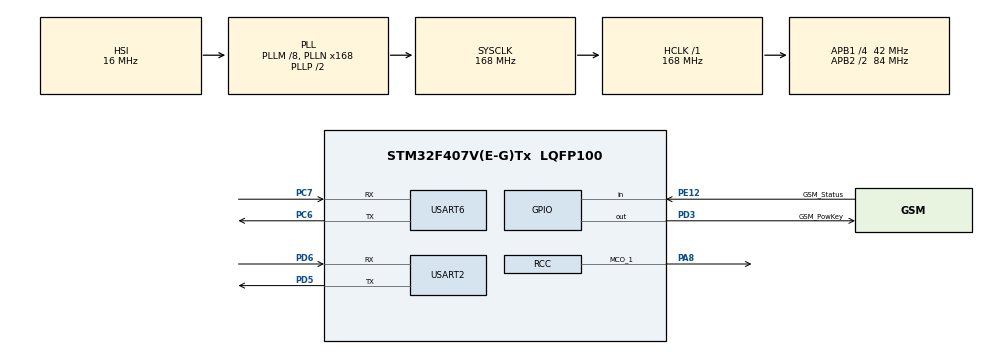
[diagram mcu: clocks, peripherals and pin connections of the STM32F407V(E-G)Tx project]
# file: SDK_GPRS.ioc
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Mcu.Family=STM32F4
Mcu.Name=STM32F407V(E-G)Tx
Mcu.Package=LQFP100
NVIC.PriorityGroup=NVIC_PRIORITYGROUP_4
NVIC.USART2_IRQn=true\:0\:0\:false\:false\:true\:true\:true
NVIC.USART6_IRQn=true\:0\:0\:false\:false\:true\:true\:true
PA13.Mode=JTAG_5_pins
PA13.Signal=SYS_JTMS-SWDIO
PA14.Mode=JTAG_5_pins
PA14.Signal=SYS_JTCK-SWCLK
PA15.Mode=JTAG_5_pins
PA15.Signal=SYS_JTDI
PA8.Mode=Clock-out-1
PA8.Signal=RCC_MCO_1
PB3.Mode=JTAG_5_pins
PB3.Signal=SYS_JTDO-SWO
PB4.Mode=JTAG_5_pins
PB4.Signal=SYS_JTRST
PB8.Signal=I2C1_SCL
PB9.Signal=I2C1_SDA
PC6.Mode=Asynchronous
PC6.Signal=USART6_TX
PC7.Mode=Asynchronous
PC7.Signal=USART6_RX
PD3.GPIO_Label=GSM_PowKey
PD3.Signal=GPIO_Output
PD5.Mode=Asynchronous
PD5.Signal=USART2_TX
PD6.Mode=Asynchronous
PD6.Signal=USART2_RX
PE12.GPIO_Label=GSM_Status
PE12.Signal=GPIO_Input
PH0-OSC_IN.Mode=HSE-External-Oscillator
PH0-OSC_IN.Signal=RCC_OSC_IN
PH1-OSC_OUT.Mode=HSE-External-Oscillator
PH1-OSC_OUT.Signal=RCC_OSC_OUT
ProjectManager.HeapSize=0x200
ProjectManager.StackSize=0x400
ProjectManager.TargetToolchain=SW4STM32
RCC.48MHZClocksFreq_Value=48000000
RCC.AHBFreq_Value=168000000
RCC.APB1CLKDivider=RCC_HCLK_DIV4
RCC.APB1Freq_Value=42000000
RCC.APB1TimFreq_Value=84000000
RCC.APB2CLKDivider=RCC_HCLK_DIV2
RCC.APB2Freq_Value=84000000
RCC.APB2TimFreq_Value=168000000
RCC.CortexFreq_Value=168000000
RCC.HCLKFreq_Value=168000000
RCC.HSE_VALUE=25000000
RCC.HSI_VALUE=16000000
RCC.LSE_VALUE=32768
RCC.PLLM=8
RCC.PLLN=168
RCC.PLLQ=7
RCC.SYSCLKFreq_VALUE=168000000
RCC.SYSCLKSource=RCC_SYSCLKSOURCE_PLLCLK
RCC.VCOOutputFreq_Value=336000000
USART2.VirtualMode=VM_ASYNC
USART6.VirtualMode=VM_ASYNC
board=custom

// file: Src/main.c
/* USER CODE BEGIN Header */
/**
  ******************************************************************************
  * @file           : main.c
  * @brief          : Main program body
  ******************************************************************************
  * @attention
  *
  * <h2><center>&copy; Copyright (c) 2019 STMicroelectronics.
  * All rights reserved.</center></h2>
  *
  * This software component is licensed by ST under BSD 3-Clause license,
  * the "License"; You may not use this file except in compliance with the
  * License. You may obtain a copy of the License at:
  *                        opensource.org/licenses/BSD-3-Clause
  *
  ******************************************************************************
  */
/* USER CODE END Header */

#include "main.h"
#include "usart.h"
#include "gpio.h"

/* USER CODE BEGIN Includes */
#include "string.h"
#include "stdio.h"
/* USER CODE END Includes */

/* USER CODE BEGIN PV */
uint8_t ATstr[32];
uint8_t i;
/* USER CODE END PV */

void SystemClock_Config(void);

int main(void)
{

  /* MCU Configuration--------------------------------------------------------*/

  /* Reset of all peripherals, Initializes the Flash interface and the Systick. */
  HAL_Init();

  /* Configure the system clock */
  SystemClock_Config();

  /* Initialize all configured peripherals */
  MX_GPIO_Init();
  MX_USART6_UART_Init();
  MX_USART2_UART_Init();
  /* USER CODE BEGIN 2 */

  GPIO_PinState currentPowerState = HAL_GPIO_ReadPin(GSM_Status_GPIO_Port,GSM_Status_Pin);

  if (currentPowerState==GPIO_PIN_RESET)
  {
	  HAL_GPIO_WritePin(GSM_PowKey_GPIO_Port, GSM_PowKey_Pin, GPIO_PIN_SET);
	  HAL_Delay(1000);
	  HAL_GPIO_WritePin(GSM_PowKey_GPIO_Port, GSM_PowKey_Pin, GPIO_PIN_RESET);
	  HAL_Delay(1000);
  }

  chat("ATI","OK"); //Wait for "OK" message from SIM800C

  /* USER CODE END 2 */

  /* Infinite loop */
  while (1)
  {

  }
}

void SystemClock_Config(void)
{
  RCC_OscInitTypeDef RCC_OscInitStruct = {0};
  RCC_ClkInitTypeDef RCC_ClkInitStruct = {0};

  /** Configure the main internal regulator output voltage
  */
  __HAL_RCC_PWR_CLK_ENABLE();
  __HAL_PWR_VOLTAGESCALING_CONFIG(PWR_REGULATOR_VOLTAGE_SCALE1);
  /** Initializes the CPU, AHB and APB busses clocks
  */
  RCC_OscInitStruct.OscillatorType = RCC_OSCILLATORTYPE_HSI;
  RCC_OscInitStruct.HSIState = RCC_HSI_ON;
  RCC_OscInitStruct.HSICalibrationValue = RCC_HSICALIBRATION_DEFAULT;
  RCC_OscInitStruct.PLL.PLLState = RCC_PLL_ON;
  RCC_OscInitStruct.PLL.PLLSource = RCC_PLLSOURCE_HSI;
  RCC_OscInitStruct.PLL.PLLM = 8;
  RCC_OscInitStruct.PLL.PLLN = 168;
  RCC_OscInitStruct.PLL.PLLP = RCC_PLLP_DIV2;
  RCC_OscInitStruct.PLL.PLLQ = 7;
  if (HAL_RCC_OscConfig(&RCC_OscInitStruct) != HAL_OK)
  {
    Error_Handler();
  }
  /** Initializes the CPU, AHB and APB busses clocks
  */
  RCC_ClkInitStruct.ClockType = RCC_CLOCKTYPE_HCLK|RCC_CLOCKTYPE_SYSCLK
                              |RCC_CLOCKTYPE_PCLK1|RCC_CLOCKTYPE_PCLK2;
  RCC_ClkInitStruct.SYSCLKSource = RCC_SYSCLKSOURCE_PLLCLK;
  RCC_ClkInitStruct.AHBCLKDivider = RCC_SYSCLK_DIV1;
  RCC_ClkInitStruct.APB1CLKDivider = RCC_HCLK_DIV4;
  RCC_ClkInitStruct.APB2CLKDivider = RCC_HCLK_DIV2;

  if (HAL_RCC_ClockConfig(&RCC_ClkInitStruct, FLASH_LATENCY_5) != HAL_OK)
  {
    Error_Handler();
  }
  HAL_RCC_MCOConfig(RCC_MCO1, RCC_MCO1SOURCE_HSI, RCC_MCODIV_1);
}

/* USER CODE BEGIN 4 */
void HAL_UART_RxCpltCallback(UART_HandleTypeDef *huart)
{
  if (huart->Instance == USART2)
  {
	i++;
    HAL_UART_Receive_IT(&huart2, &ATstr[i], 1);
  }
}

void chat(char* at,char* OK)
{
	char *n="\n";
	char AT[32];
	char str[32];
	char *istr;
	snprintf(AT,sizeof(AT),"%s%s",at,n);
	HAL_UART_Transmit(&huart2, AT, strlen(AT), 100);
	i=0;
	HAL_UART_Receive_IT(&huart2, &ATstr[i], 1);
	HAL_Delay(1000);
	sprintf(str, "%s", ATstr);
	if((istr=strstr(ATstr,OK))!=NULL)
		HAL_UART_Transmit(&huart6, "OK\n", strlen("OK\n"), 100);
	else
		HAL_UART_Transmit(&huart6, "no callback", strlen("no callback"), 100);
}
void find_OK(char str)
{

}
/* USER CODE END 4 */

void Error_Handler(void)
{
}

/************************ (C) COPYRIGHT STMicroelectronics *****END OF FILE****/
